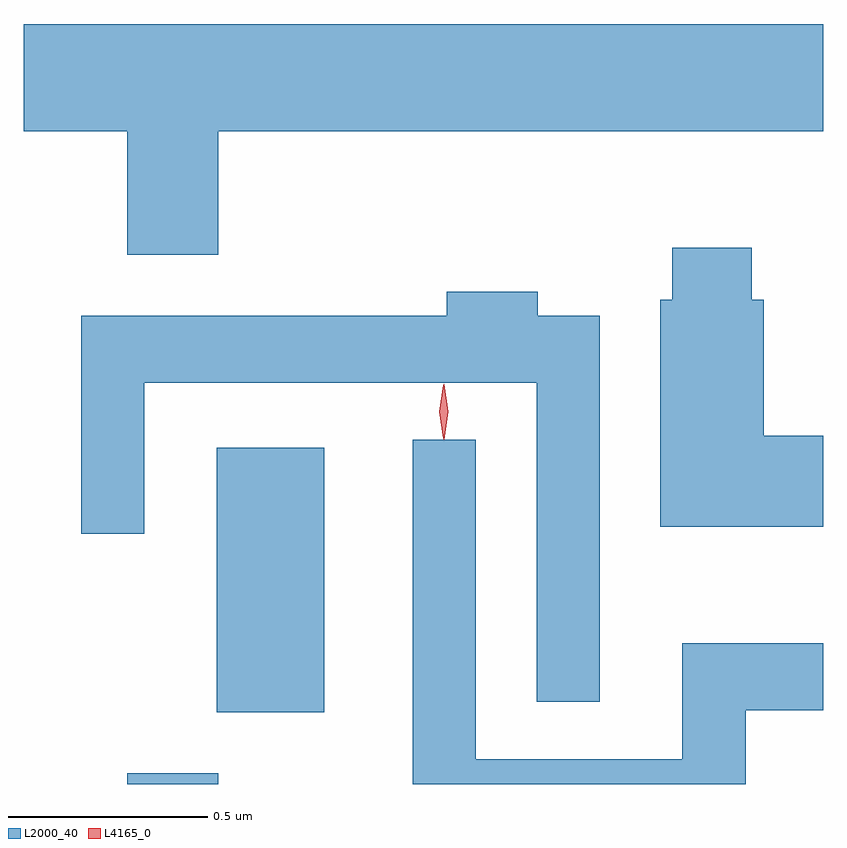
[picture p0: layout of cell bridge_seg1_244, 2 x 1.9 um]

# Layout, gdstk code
import gdstk
lib = gdstk.Library(unit=1e-6, precision=1e-09)
def R(c, l, rs):  # rectangles x0, y0, x1, y1
    for r in rs: c.add(gdstk.rectangle(r[:2], r[2:], *l))
def P(c, l, *ps):  # polygons
    for p in ps: c.add(gdstk.Polygon(p, *l))
L2000_40 = (2000, 40)
L4165_0 = (4165, 0)

bridge_seg1_244 = lib.new_cell('bridge_seg1_244')
R(bridge_seg1_244, L2000_40, [(835.901,897.942,836.129,897.969), (836.126,898.121,836.394,898.784)])
P(bridge_seg1_244, L2000_40, [(836.129,899.576),(837.643,899.576),(837.643,899.844),(835.643,899.844),(835.643,899.576),(835.901,899.576),(835.901,899.266),(836.129,899.266)],
  [(837.643,898.814),(837.494,898.814),(837.494,899.154),(837.464,899.154),(837.464,899.284),(837.266,899.284),(837.266,899.154),(837.236,899.154),(837.236,898.586),(837.643,898.586)],
  [(837.084,899.114),(836.929,899.114),(836.929,899.174),(836.701,899.174),(836.701,899.114),(835.786,899.114),(835.786,898.568),(835.944,898.568),(835.944,898.946),(836.926,898.946),(836.926,898.148),(837.084,898.148)],
  [(837.449,898.126),(837.643,898.126),(837.643,898.294),(837.291,898.294),(837.291,898.004),(836.774,898.004),(836.774,898.803),(836.616,898.803),(836.616,897.942),(837.449,897.942)])
P(bridge_seg1_244, L4165_0, [(836.694,898.804),(836.685,898.873),(836.694,898.942),(836.695,898.943),(836.695,898.942),(836.705,898.873),(836.695,898.804),(836.695,898.804)],
  [(836.693,898.807),(836.693,898.807),(836.683,898.874),(836.693,898.94),(836.693,898.94),(836.694,898.94),(836.703,898.874),(836.694,898.807)])

lib.write_gds('bridge_seg1_244.gds')
